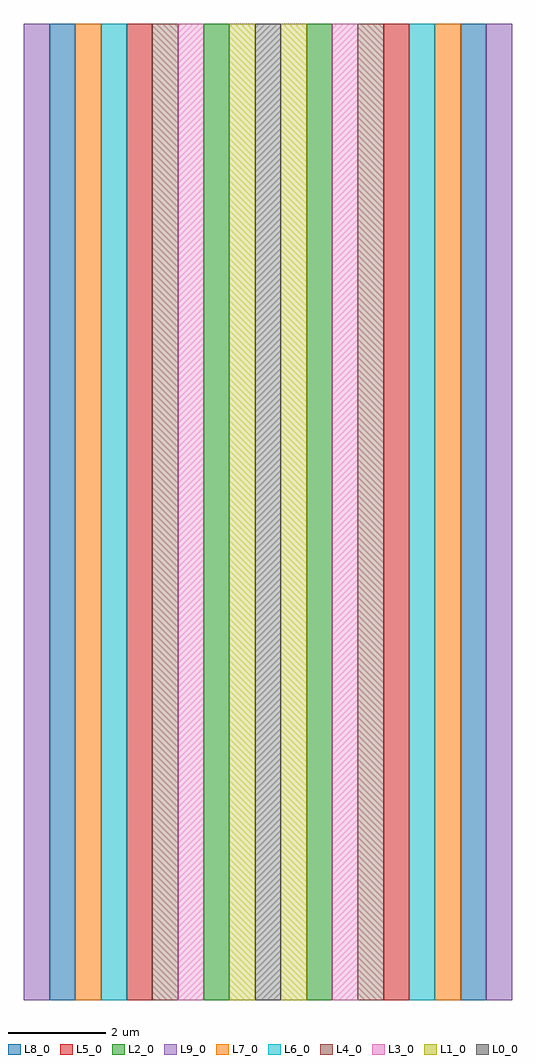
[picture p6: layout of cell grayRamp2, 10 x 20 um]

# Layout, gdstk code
import gdstk
lib = gdstk.Library(unit=1e-6, precision=1e-09)
def R(c, l, rs):  # rectangles x0, y0, x1, y1
    for r in rs: c.add(gdstk.rectangle(r[:2], r[2:], *l))
L0_0 = (0, 0)
L1_0 = (1, 0)
L2_0 = (2, 0)
L3_0 = (3, 0)
L4_0 = (4, 0)
L5_0 = (5, 0)
L6_0 = (6, 0)
L7_0 = (7, 0)
L8_0 = (8, 0)
L9_0 = (9, 0)

grayramp2 = lib.new_cell('grayRamp2')
R(grayramp2, L0_0, [(4.737,0,5.263,20)])
R(grayramp2, L1_0, [(4.211,0,4.737,20), (5.263,0,5.789,20)])
R(grayramp2, L2_0, [(3.684,0,4.211,20), (5.789,0,6.316,20)])
R(grayramp2, L3_0, [(3.158,0,3.684,20), (6.316,0,6.842,20)])
R(grayramp2, L4_0, [(2.632,0,3.158,20), (6.842,0,7.368,20)])
R(grayramp2, L5_0, [(2.105,0,2.632,20), (7.368,0,7.895,20)])
R(grayramp2, L6_0, [(1.579,0,2.105,20), (7.895,0,8.421,20)])
R(grayramp2, L7_0, [(1.053,0,1.579,20), (8.421,0,8.947,20)])
R(grayramp2, L8_0, [(0.526,0,1.053,20), (8.947,0,9.474,20)])
R(grayramp2, L9_0, [(0,0,0.526,20), (9.474,0,10,20)])

lib.write_gds('grayRamp2.gds')
